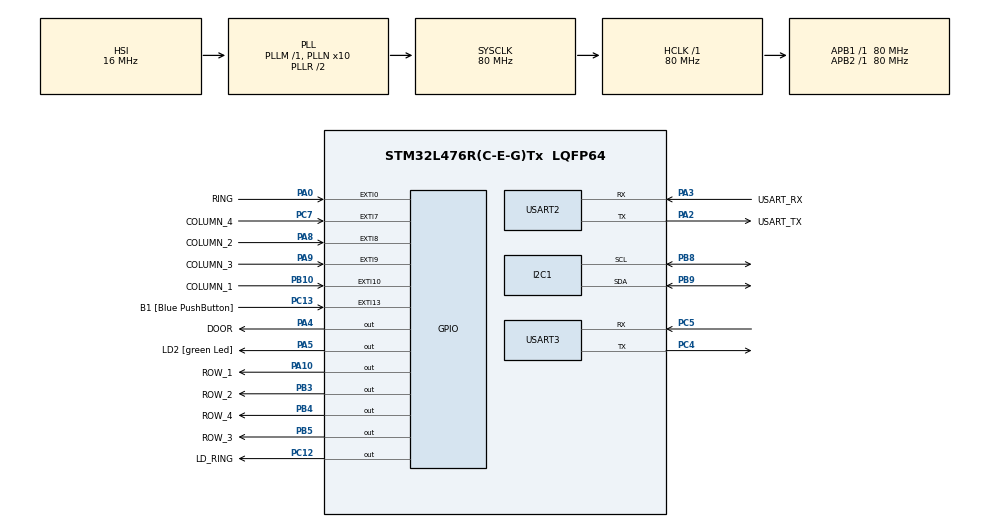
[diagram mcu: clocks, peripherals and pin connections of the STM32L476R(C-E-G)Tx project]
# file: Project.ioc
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I2C1.Timing=0x10D19CE4
Mcu.Family=STM32L4
Mcu.Name=STM32L476R(C-E-G)Tx
Mcu.Package=LQFP64
NVIC.EXTI0_IRQn=true\:0\:0\:false\:false\:true\:true\:true\:true
NVIC.EXTI15_10_IRQn=true\:0\:0\:false\:false\:true\:true\:true\:true
NVIC.EXTI9_5_IRQn=true\:0\:0\:false\:false\:true\:true\:true\:true
NVIC.PriorityGroup=NVIC_PRIORITYGROUP_4
NVIC.USART2_IRQn=true\:0\:0\:false\:false\:true\:true\:true\:true
NVIC.USART3_IRQn=true\:0\:0\:false\:false\:true\:true\:true\:true
PA0.GPIO_Label=RING
PA0.GPIO_ModeDefaultEXTI=GPIO_MODE_IT_FALLING
PA0.GPIO_PuPd=GPIO_PULLUP
PA0.Signal=GPXTI0
PA10.GPIO_Label=ROW_1
PA10.GPIO_ModeDefaultOutputPP=GPIO_MODE_OUTPUT_OD
PA10.GPIO_PuPd=GPIO_NOPULL
PA10.GPIO_Speed=GPIO_SPEED_FREQ_VERY_HIGH
PA10.PinState=GPIO_PIN_RESET
PA10.Signal=GPIO_Output
PA13\ (JTMS-SWDIO).GPIO_Label=TMS
PA13\ (JTMS-SWDIO).Mode=Serial_Wire
PA13\ (JTMS-SWDIO).Signal=SYS_JTMS-SWDIO
PA14\ (JTCK-SWCLK).GPIO_Label=TCK
PA14\ (JTCK-SWCLK).Mode=Serial_Wire
PA14\ (JTCK-SWCLK).Signal=SYS_JTCK-SWCLK
PA2.GPIO_Label=USART_TX
PA2.GPIO_Mode=GPIO_MODE_AF_PP
PA2.GPIO_PuPd=GPIO_NOPULL
PA2.GPIO_Speed=GPIO_SPEED_FREQ_VERY_HIGH
PA2.Mode=Asynchronous
PA2.Signal=USART2_TX
PA3.GPIO_Label=USART_RX
PA3.GPIO_Mode=GPIO_MODE_AF_PP
PA3.GPIO_PuPd=GPIO_NOPULL
PA3.GPIO_Speed=GPIO_SPEED_FREQ_VERY_HIGH
PA3.Mode=Asynchronous
PA3.Signal=USART2_RX
PA4.GPIO_Label=DOOR
PA4.Signal=GPIO_Output
PA5.GPIO_Label=LD2 [green Led]
PA5.GPIO_ModeDefaultOutputPP=GPIO_MODE_OUTPUT_PP
PA5.GPIO_PuPd=GPIO_NOPULL
PA5.GPIO_Speed=GPIO_SPEED_FREQ_LOW
PA5.Signal=GPIO_Output
PA8.GPIO_Label=COLUMN_2
PA8.GPIO_ModeDefaultEXTI=GPIO_MODE_IT_FALLING
PA8.GPIO_PuPd=GPIO_PULLUP
PA8.Signal=GPXTI8
PA9.GPIO_Label=COLUMN_3
PA9.GPIO_ModeDefaultEXTI=GPIO_MODE_IT_FALLING
PA9.GPIO_PuPd=GPIO_PULLUP
PA9.Signal=GPXTI9
PB10.GPIO_Label=COLUMN_1
PB10.GPIO_ModeDefaultEXTI=GPIO_MODE_IT_FALLING
PB10.GPIO_PuPd=GPIO_PULLUP
PB10.Signal=GPXTI10
PB3\ (JTDO-TRACESWO).GPIO_Label=ROW_2
PB3\ (JTDO-TRACESWO).GPIO_ModeDefaultOutputPP=GPIO_MODE_OUTPUT_OD
PB3\ (JTDO-TRACESWO).GPIO_PuPd=GPIO_NOPULL
PB3\ (JTDO-TRACESWO).GPIO_Speed=GPIO_SPEED_FREQ_VERY_HIGH
PB3\ (JTDO-TRACESWO).PinState=GPIO_PIN_RESET
PB3\ (JTDO-TRACESWO).Signal=GPIO_Output
PB4\ (NJTRST).GPIO_Label=ROW_4
PB4\ (NJTRST).GPIO_ModeDefaultOutputPP=GPIO_MODE_OUTPUT_OD
PB4\ (NJTRST).GPIO_PuPd=GPIO_NOPULL
PB4\ (NJTRST).GPIO_Speed=GPIO_SPEED_FREQ_VERY_HIGH
PB4\ (NJTRST).PinState=GPIO_PIN_RESET
PB4\ (NJTRST).Signal=GPIO_Output
PB5.GPIO_Label=ROW_3
PB5.GPIO_ModeDefaultOutputPP=GPIO_MODE_OUTPUT_OD
PB5.GPIO_PuPd=GPIO_NOPULL
PB5.GPIO_Speed=GPIO_SPEED_FREQ_VERY_HIGH
PB5.PinState=GPIO_PIN_RESET
PB5.Signal=GPIO_Output
PB8.Mode=I2C
PB8.Signal=I2C1_SCL
PB9.Mode=I2C
PB9.Signal=I2C1_SDA
PC12.GPIO_Label=LD_RING
PC12.GPIO_ModeDefaultOutputPP=GPIO_MODE_OUTPUT_PP
PC12.Signal=GPIO_Output
PC13.GPIO_Label=B1 [Blue PushButton]
PC13.GPIO_ModeDefaultEXTI=GPIO_MODE_IT_FALLING
PC13.GPIO_PuPd=GPIO_NOPULL
PC13.Signal=GPXTI13
PC14-OSC32_IN\ (PC14).Mode=LSE-External-Oscillator
PC14-OSC32_IN\ (PC14).Signal=RCC_OSC32_IN
PC15-OSC32_OUT\ (PC15).Mode=LSE-External-Oscillator
PC15-OSC32_OUT\ (PC15).Signal=RCC_OSC32_OUT
PC4.Mode=Asynchronous
PC4.Signal=USART3_TX
PC5.Mode=Asynchronous
PC5.Signal=USART3_RX
PC7.GPIO_Label=COLUMN_4
PC7.GPIO_ModeDefaultEXTI=GPIO_MODE_IT_FALLING
PC7.GPIO_PuPd=GPIO_PULLUP
PC7.Signal=GPXTI7
PH0-OSC_IN\ (PH0).Signal=RCC_OSC_IN
PH1-OSC_OUT\ (PH1).Signal=RCC_OSC_OUT
ProjectManager.HeapSize=0x200
ProjectManager.StackSize=0x400
ProjectManager.TargetToolchain=CMake
RCC.ADCFreq_Value=64000000
RCC.AHBFreq_Value=80000000
RCC.APB1Freq_Value=80000000
RCC.APB1TimFreq_Value=80000000
RCC.APB2Freq_Value=80000000
RCC.APB2TimFreq_Value=80000000
RCC.CortexFreq_Value=80000000
RCC.HCLKFreq_Value=80000000
RCC.HSE_VALUE=8000000
RCC.HSI_VALUE=16000000
RCC.MSI_VALUE=4000000
RCC.PLLN=10
RCC.PLLSourceVirtual=RCC_PLLSOURCE_HSI
RCC.PREFETCH_ENABLE=1
RCC.SYSCLKFreq_VALUE=80000000
RCC.SYSCLKSource=RCC_SYSCLKSOURCE_PLLCLK
RCC.USBFreq_Value=64000000
RCC.VCOOutputFreq_Value=160000000
USART2.VirtualMode-Asynchronous=VM_ASYNC
USART3.VirtualMode-Asynchronous=VM_ASYNC
board=NUCLEO-L476RG

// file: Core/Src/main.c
/* USER CODE BEGIN Header */
/**
  ******************************************************************************
  * @file           : main.c
  * @brief          : Main program body
  ******************************************************************************
  */
/* USER CODE END Header */
#include "main.h"
#include "i2c.h"
#include "usart.h"
#include "gpio.h"

/* USER CODE BEGIN Includes */
#include "keypad.h"
#include "ring_buffer.h"
#include "ssd1306.h"
#include "ssd1306_fonts.h"
#include "unlocked.h"
#include "locked.h"
#include <string.h>
#include <stdio.h>
/* USER CODE END Includes */

/* USER CODE BEGIN PTD */
typedef enum {
    STATE_DOOR_CLOSED,          // Puerta cerrada
    STATE_DOOR_TEMP_OPEN,       // Puerta abierta temporalmente
    STATE_DOOR_PERM_OPEN,
    STATE_DOOR_RING        // Puerta abierta permanentemente
} DoorState;

typedef enum {
    EVENT_OPEN_TEMP,            // Evento: abrir temporalmente
    EVENT_OPEN_PERM,            // Evento: abrir permanentemente
    EVENT_CLOSE,
    EVENT_RING                 // Evento: cerrar puerta
} DoorEvent;
/* USER CODE END PTD */

/* USER CODE BEGIN PD */
#define COMMAND_LENGTH 3
#define PASSWORD "1234"
#define MAX_PASSWORD_ATTEMPTS 3
#define DEBOUNCE_DELAY_MS 500
#define DOUBLE_PRESS_DELAY 1200 // Tiempo máximo entre dos pulsaciones rápidas
#define DOOR_TIMEOUT_MS 5000    // Tiempo para
#define LED_ON_TIME 500  // Tiempo en milisegundos que el LED permanecerá encendido

/* USER CODE END PD */

/* USER CODE BEGIN PM */
/* USER CODE BEGIN PTD */
typedef enum {
    STATE_AUTHENTICATING,       // Esperando autenticación
    STATE_ACTIVE_DOOR_CLOSED,   // Autenticado, puerta cerrada
    STATE_OCCUPIED,             // Puerta abierta temporalmente
    STATE_UNOCCUPIED,           // Puerta abierta permanentemente
    STATE_LOCKED,               // Sistema bloqueado
    STATE_INACTIVE              // Sistema inactivo (tras 1 minuto)
} SystemState;

/* USER CODE END PM */

/* USER CODE BEGIN PV */
/* USER CODE BEGIN PV */

ring_buffer_t pc_rx_buffer;      // Buffer para YAT
uint8_t pc_rx_buffer_mem[128];

ring_buffer_t keypad_rx_buffer;  // Buffer para teclado
uint8_t keypad_rx_buffer_mem[128];

ring_buffer_t internet_rx_buffer; // Buffer para internet
uint8_t internet_rx_buffer_mem[128];

uint8_t rx_byte;
uint32_t key_pressed_tick = 0;
uint16_t column_pressed = 0;
uint32_t debounce_tick = 0;

const char CMD_OPEN[] = "*A*";
const char CMD_CLOSE[] = "*C*";
const char CMD_STATUS[] = "*1*";

char current_cmd[COMMAND_LENGTH + 1];

uint8_t password_attempts = 0;
uint8_t is_authenticated = 0;

// Variables para el botón y la puerta
volatile uint8_t button_press_count = 0;
volatile uint8_t button_press_ring = 0;

uint32_t button_last_press_time = 0;
uint32_t button_last_press_RING = 0;

uint8_t door_state = 0; // 0: cerrada, 1: abierta temporalmente, 2: abierta permanentemente
uint32_t door_open_time = 0;

// Temporizador del sistema
uint32_t system_active_time = 0; // Tiempo en que el sistema se activa
#define SYSTEM_ACTIVE_DURATION 180000 // 1 minuto en milisegundos
/* USER CODE END PV */

void SystemClock_Config(void);
/* USER CODE BEGIN PFP */
void uart_send_string(const char *str);
void display_menu(void);
void process_commands(void);
void handle_keypad_input(void);
void handle_authentication(void);
uint8_t check_password(const char *input);
void handle_button_press(void);
void reset_system(void); // Función para reiniciar el sistema
/* USER CODE END PFP */

/* USER CODE BEGIN 0 */
void HAL_UART_RxCpltCallback(UART_HandleTypeDef *huart) {
    if (huart == &huart2) {
        ring_buffer_write(&pc_rx_buffer, rx_byte);
        HAL_UART_Transmit(&huart3, &rx_byte, 1, 100);
        HAL_UART_Receive_IT(&huart2, &rx_byte, 1);
    }
    if (huart == &huart3) {
        ring_buffer_write(&internet_rx_buffer, rx_byte);
        HAL_UART_Transmit(&huart2, &rx_byte, 1, 100);
        HAL_UART_Receive_IT(&huart3, &rx_byte, 1);
    }
}

void uart_send_string(const char *str) {
    HAL_UART_Transmit(&huart2, (uint8_t *)str, strlen(str), 100);
    HAL_UART_Transmit(&huart3, (uint8_t *)str, strlen(str), 100);
}

void display_menu(void) {
    uart_send_string("\r\nMenu de opciones:\r\n");
    uart_send_string("Ingrese (*A*) para abrir la puerta\r\n");
    uart_send_string("Ingrese (*C*) para cerrar la puerta\r\n");
    uart_send_string("Ingrese (*1*) para ver el estado de la puerta\r\n");
}

void HAL_GPIO_EXTI_Callback(uint16_t GPIO_Pin) {
    if ((HAL_GetTick() - debounce_tick) < DEBOUNCE_DELAY_MS) { // Debounce
        return;
    }
    debounce_tick = HAL_GetTick();

    if (GPIO_Pin == B1_Pin) { // Verificar si el botón B1 fue presionado
        button_press_count++;
        button_last_press_time = HAL_GetTick();
        uart_send_string("\r\nBotón B1 presionado\r\n");
    } else {
        // Manejar teclado
        key_pressed_tick = HAL_GetTick();
        column_pressed = GPIO_Pin;
        handle_keypad_input();
    }
    if (GPIO_Pin == RING_Pin) {
        HAL_GPIO_WritePin(LD_RING_GPIO_Port, LD_RING_Pin, GPIO_PIN_SET);
        button_press_ring++;
        button_last_press_RING = HAL_GetTick();
        button_press_ring = 0;
        // Verifica si el tiempo de encendido ha expirado y apaga el LED
        if (HAL_GetTick() - button_last_press_RING >= LED_ON_TIME) {
        HAL_GPIO_WritePin(LD_RING_GPIO_Port, LD_RING_Pin, GPIO_PIN_RESET); // Apagar el LED
       }

      //  HAL_GPIO_WritePin(LD_RING_GPIO_Port, LD_RING_Pin, GPIO_PIN_RESET);
        uart_send_string("\r\nBotón RING presionado\r\n");

    }
}

uint8_t check_password(const char *input) {
    return (strcmp(input, PASSWORD) == 0);
}

void handle_authentication(void) {
    char password_input[5]; // 4 dígitos + 1 para el carácter nulo
    uint8_t byte;
    uint8_t idx = 0;

    uart_send_string("Bienvenido a nuestro control de acceso\r\n");
    uart_send_string("Ingrese la contraseña para continuar: ");

    while (!is_authenticated) {
        if (ring_buffer_read(&pc_rx_buffer, &byte)||ring_buffer_read(&internet_rx_buffer, &byte)||ring_buffer_read(&keypad_rx_buffer, &byte) ) {
            password_input[idx++] = byte;

            if (idx == 4) { // La contraseña tiene 4 dígitos
                password_input[idx] = '\0'; // Terminar la cadena
                if (check_password(password_input)) {
                    is_authenticated = 1;
                    system_active_time = HAL_GetTick(); // Activar el temporizador del sistema
                    uart_send_string("\r\nContraseña correcta. Acceso permitido.\r\n");

                    // Mostrar "Acceso permitido" en la pantalla OLED
                    ssd1306_Fill(Black);
                    ssd1306_SetCursor(10, 20);
                    ssd1306_WriteString("Acceso permitido", Font_7x10, White);
                    ssd1306_UpdateScreen();

                    HAL_GPIO_WritePin(LD2_GPIO_Port, LD2_Pin, GPIO_PIN_SET); // Encender el LED
                  //  HAL_GPIO_WritePin(LD_RING_GPIO_Port, LD_RING_Pin, GPIO_PIN_SET);
                    display_menu();
                } else {
                    password_attempts++;
                    if (password_attempts >= MAX_PASSWORD_ATTEMPTS) {
                        uart_send_string("\r\n3 intentos fallidos. Sistema bloqueado.\r\n");
                        while (1); // Bloquear el sistema
                    } else {
                        uart_send_string("\r\nContraseña incorrecta. Intente de nuevo.\r\n");
                        uart_send_string("Ingrese la contraseña para continuar: ");
                    }
                    idx = 0; // Reiniciar el índice para el siguiente intento
                    ring_buffer_reset(&pc_rx_buffer); // Limpiar el buffer para evitar datos residuales
                }
            }
        }
    }
}

void reset_system(void) {
    is_authenticated = 0; // Reiniciar autenticación
    door_state = 0; // Cerrar la puerta
    HAL_GPIO_WritePin(DOOR_GPIO_Port, DOOR_Pin, GPIO_PIN_RESET); // Asegurar que la puerta esté cerrada
    HAL_GPIO_WritePin(LD2_GPIO_Port, LD2_Pin, GPIO_PIN_RESET); // Apagar el LED
    ssd1306_Fill(Black); // Limpiar la pantalla OLED
    ssd1306_UpdateScreen();
    uart_send_string("\r\nSistema reiniciado. \r\n");
}

void handle_button_press(void) {
    static uint32_t last_press_time = 0;
    uint32_t current_time = HAL_GetTick();

    // Verificar si es una pulsación doble
    if (button_press_count == 2 && (current_time - last_press_time) <= DOUBLE_PRESS_DELAY) {
        HAL_GPIO_WritePin(DOOR_GPIO_Port, DOOR_Pin, GPIO_PIN_SET); // Abrir la puerta
        ssd1306_Fill(Black);
        ssd1306_SetCursor(20, 20);
        ssd1306_WriteString("Door Open ", Font_6x8, White);
        ssd1306_SetCursor(20, 40);
        ssd1306_WriteString("PERMANENTLY", Font_6x8, White);
        ssd1306_UpdateScreen();
        uart_send_string("\r\nPuerta abierta permanentemente\r\n");
        door_state = 2; // Estado de puerta abierta permanentemente
        button_press_count = 0; // Reiniciar el contador de pulsaciones

    } else if (button_press_count == 1 && (current_time - last_press_time) > DOUBLE_PRESS_DELAY) {
        // Una pulsación: abrir temporalmente
        HAL_GPIO_WritePin(DOOR_GPIO_Port, DOOR_Pin, GPIO_PIN_SET); // Abrir la puerta
        ssd1306_Fill(Black);
        ssd1306_SetCursor(20, 20);
        ssd1306_WriteString("Door Open ", Font_6x8, White);
        ssd1306_SetCursor(20, 40);
        ssd1306_WriteString("TEMPORALITY ", Font_6x8, White);
        ssd1306_UpdateScreen();
        uart_send_string("\r\nPuerta abierta temporalmente\r\n");
        door_state = 1; // Estado de puerta abierta temporalmente
        door_open_time = HAL_GetTick(); // Registrar el tiempo de apertura
        button_press_count = 0; // Reiniciar el contador de pulsaciones
    } else if (button_press_ring == 1 && (current_time - last_press_time) > DOUBLE_PRESS_DELAY) {
        // Una pulsación: abrir temporalmente
        door_state = STATE_DOOR_RING ; // Estado TIMBRE
        door_open_time = HAL_GetTick(); // Registrar el tiempo de apertura
        button_press_ring = 0; // Reiniciar el contador de pulsaciones
    }

    // Actualizar el tiempo de la última pulsación
    last_press_time = current_time;
}

void process_commands(void) {
    uint8_t byte;
    while (ring_buffer_read(&pc_rx_buffer, &byte)||ring_buffer_read(&internet_rx_buffer, &byte)||ring_buffer_read(&keypad_rx_buffer, &byte)) {
        // Shift buffer left y añade el nuevo byte
        memmove(current_cmd, current_cmd + 1, COMMAND_LENGTH - 1);
        current_cmd[COMMAND_LENGTH - 1] = (char)byte;
        current_cmd[COMMAND_LENGTH] = '\0'; // Asegurar que la cadena esté terminada

        // Comando *A*: Puerta abierta
        if (memcmp(current_cmd, CMD_OPEN, COMMAND_LENGTH) == 0) {
            HAL_GPIO_WritePin(DOOR_GPIO_Port, DOOR_Pin, GPIO_PIN_SET);
            ssd1306_Fill(Black);
            ssd1306_DrawBitmap(0, 0, unlocked_image_data, 128, 64, White);
            ssd1306_UpdateScreen();
            uart_send_string("\r\nComando *A* recibido: Puerta abierta\r\n");
        }
        // Comando *C*: Puerta cerrada
        else if (memcmp(current_cmd, CMD_CLOSE, COMMAND_LENGTH) == 0) {
            HAL_GPIO_WritePin(DOOR_GPIO_Port, DOOR_Pin, GPIO_PIN_RESET);
            ssd1306_Fill(Black);
            ssd1306_DrawBitmap(0, 0, locked_image_data, 128, 64, White);
            ssd1306_UpdateScreen();
            uart_send_string("\r\nComando *C* recibido: Puerta cerrada\r\n");
        }
        // Comando *1*: Estado de la puerta
        else if (memcmp(current_cmd, CMD_STATUS, COMMAND_LENGTH) == 0) {
            uint8_t state = HAL_GPIO_ReadPin(DOOR_GPIO_Port, DOOR_Pin);
            uart_send_string(state ? "\r\nEstado de la puerta: Abierta\r\n" :
                                     "\r\nEstado de la puerta: Cerrada\r\n");
        }

    }
}

void handle_keypad_input(void) {
    static uint32_t last_key_time = 0; // Tiempo de la última tecla válida
    uint8_t key = keypad_scan(column_pressed);

    if (key != 0) {
        uint32_t current_time = HAL_GetTick();

        // Verificar si ha pasado el tiempo de debounce desde la última tecla
        if ((current_time - last_key_time) > DEBOUNCE_DELAY_MS) {
            last_key_time = current_time; // Actualizar el tiempo de la última tecla válida

            char key_str[2];
            key_str[0] = key;
            key_str[1] = '\0';
            uart_send_string(key_str); // Enviar la tecla por UART
            ring_buffer_write(&keypad_rx_buffer, key); // Almacenar la tecla en el buffer
        }
    }
}

void system_state_machine(void) {
    static uint32_t last_state_change = 0;

    switch (door_state) {
        case STATE_DOOR_CLOSED:
            HAL_GPIO_WritePin(DOOR_GPIO_Port, DOOR_Pin, GPIO_PIN_RESET);
            break;

        case STATE_DOOR_TEMP_OPEN:
            HAL_GPIO_WritePin(DOOR_GPIO_Port, DOOR_Pin, GPIO_PIN_SET);
            if (HAL_GetTick() - last_state_change > DOOR_TIMEOUT_MS) {
                door_state = STATE_DOOR_CLOSED;
                last_state_change = HAL_GetTick();
                ssd1306_Fill(Black);
                ssd1306_DrawBitmap(0, 0, locked_image_data, 128, 64, White);
                ssd1306_UpdateScreen();
                uart_send_string("\r\nPuerta cerrada después de 5 segundos\r\n");
            }
            break;

        case STATE_DOOR_PERM_OPEN:
            HAL_GPIO_WritePin(DOOR_GPIO_Port, DOOR_Pin, GPIO_PIN_SET);
            break;

        case STATE_DOOR_RING:
            HAL_GPIO_WritePin(DOOR_GPIO_Port, RING_Pin, GPIO_PIN_SET);
            break;

        default:
            break;
    }
}

void system_events_handler(uint8_t event) {
    switch (event) {
        case EVENT_OPEN_TEMP:
            door_state = STATE_DOOR_TEMP_OPEN;
            door_open_time = HAL_GetTick();
            ssd1306_Fill(Black);
            ssd1306_SetCursor(20, 20);
            ssd1306_WriteString("Door Open ", Font_6x8, White);
            ssd1306_SetCursor(20, 40);
            ssd1306_WriteString("TEMPORARILY", Font_6x8, White);
            ssd1306_UpdateScreen();
            uart_send_string("\r\nPuerta abierta temporalmente\r\n");
            break;

        case EVENT_OPEN_PERM:
            door_state = STATE_DOOR_PERM_OPEN;
            ssd1306_Fill(Black);
            ssd1306_SetCursor(20, 20);
            ssd1306_WriteString("Door Open ", Font_6x8, White);
            ssd1306_SetCursor(20, 40);
            ssd1306_WriteString("PERMANENTLY", Font_6x8, White);
            ssd1306_UpdateScreen();
            uart_send_string("\r\nPuerta abierta permanentemente\r\n");
            break;

        case EVENT_CLOSE:
            door_state = STATE_DOOR_CLOSED;
            ssd1306_Fill(Black);
            ssd1306_DrawBitmap(0, 0, locked_image_data, 128, 64, White);
            ssd1306_UpdateScreen();
            uart_send_string("\r\nPuerta cerrada\r\n");
            break;
        case EVENT_RING:
            door_state = STATE_DOOR_RING;
           HAL_GPIO_WritePin(RING_GPIO_Port, RING_Pin, GPIO_PIN_RESET);
            uart_send_string("\r\ntimbre\r\n");
            break;

        default:
            break;
    }
}
/* USER CODE END 0 */

  int main(void) {
    HAL_Init();
    SystemClock_Config();
    MX_GPIO_Init();
    MX_USART2_UART_Init();
    MX_I2C1_Init();
    MX_USART3_UART_Init();

    ring_buffer_init(&pc_rx_buffer, pc_rx_buffer_mem, sizeof(pc_rx_buffer_mem));
    ring_buffer_init(&keypad_rx_buffer, keypad_rx_buffer_mem, sizeof(keypad_rx_buffer_mem));
    ring_buffer_init(&internet_rx_buffer, internet_rx_buffer_mem, sizeof(internet_rx_buffer_mem));

    HAL_UART_Receive_IT(&huart2, &rx_byte, 1);
    HAL_UART_Receive_IT(&huart3, &rx_byte, 1);

    ssd1306_Init();
    ssd1306_Fill(Black);
    ssd1306_UpdateScreen();

    keypad_init();

    while (1) {
        if (!is_authenticated) {
            handle_authentication(); // Solicitar la clave si no está autenticado
        } else {
            // Verificar si ha pasado 1 minuto desde que el sistema se activó
            if ((HAL_GetTick() - system_active_time) >= SYSTEM_ACTIVE_DURATION) {
                reset_system(); // Reiniciar el sistema después de 1 minuto
            }

            // Manejar pulsaciones del botón B1
            if (button_press_count > 0) {
                handle_button_press();
            }

            // Cerrar la puerta después de 5 segundos si está abierta temporalmente
            if (door_state == 1 && (HAL_GetTick() - door_open_time) >= 5000) {
                HAL_GPIO_WritePin(DOOR_GPIO_Port, DOOR_Pin, GPIO_PIN_RESET); // Cerrar la puerta
                ssd1306_Fill(Black);
                ssd1306_DrawBitmap(0, 0, locked_image_data, 128, 64, White);
                ssd1306_UpdateScreen();
                uart_send_string("\r\nPuerta cerrada después de 5 segundos\r\n");
                door_state = 0; // Estado de puerta cerrada
            }

            // Procesar comandos recibidos por UART
            process_commands();
        }
    }
}
void SystemClock_Config(void)
{
  RCC_OscInitTypeDef RCC_OscInitStruct = {0};
  RCC_ClkInitTypeDef RCC_ClkInitStruct = {0};

  /** Configure the main internal regulator output voltage
  */
  if (HAL_PWREx_ControlVoltageScaling(PWR_REGULATOR_VOLTAGE_SCALE1) != HAL_OK)
  {
    Error_Handler();
  }

  /** Initializes the RCC Oscillators according to the specified parameters
  * in the RCC_OscInitTypeDef structure.
  */
  RCC_OscInitStruct.OscillatorType = RCC_OSCILLATORTYPE_HSI;
  RCC_OscInitStruct.HSIState = RCC_HSI_ON;
  RCC_OscInitStruct.HSICalibrationValue = RCC_HSICALIBRATION_DEFAULT;
  RCC_OscInitStruct.PLL.PLLState = RCC_PLL_ON;
  RCC_OscInitStruct.PLL.PLLSource = RCC_PLLSOURCE_HSI;
  RCC_OscInitStruct.PLL.PLLM = 1;
  RCC_OscInitStruct.PLL.PLLN = 10;
  RCC_OscInitStruct.PLL.PLLP = RCC_PLLP_DIV7;
  RCC_OscInitStruct.PLL.PLLQ = RCC_PLLQ_DIV2;
  RCC_OscInitStruct.PLL.PLLR = RCC_PLLR_DIV2;
  if (HAL_RCC_OscConfig(&RCC_OscInitStruct) != HAL_OK)
  {
    Error_Handler();
  }

  /** Initializes the CPU, AHB and APB buses clocks
  */
  RCC_ClkInitStruct.ClockType = RCC_CLOCKTYPE_HCLK|RCC_CLOCKTYPE_SYSCLK
                              |RCC_CLOCKTYPE_PCLK1|RCC_CLOCKTYPE_PCLK2;
  RCC_ClkInitStruct.SYSCLKSource = RCC_SYSCLKSOURCE_PLLCLK;
  RCC_ClkInitStruct.AHBCLKDivider = RCC_SYSCLK_DIV1;
  RCC_ClkInitStruct.APB1CLKDivider = RCC_HCLK_DIV1;
  RCC_ClkInitStruct.APB2CLKDivider = RCC_HCLK_DIV1;

  if (HAL_RCC_ClockConfig(&RCC_ClkInitStruct, FLASH_LATENCY_4) != HAL_OK)
  {
    Error_Handler();
  }
}

void Error_Handler(void)
{
  __disable_irq();
  while (1)
  {
  }
}
